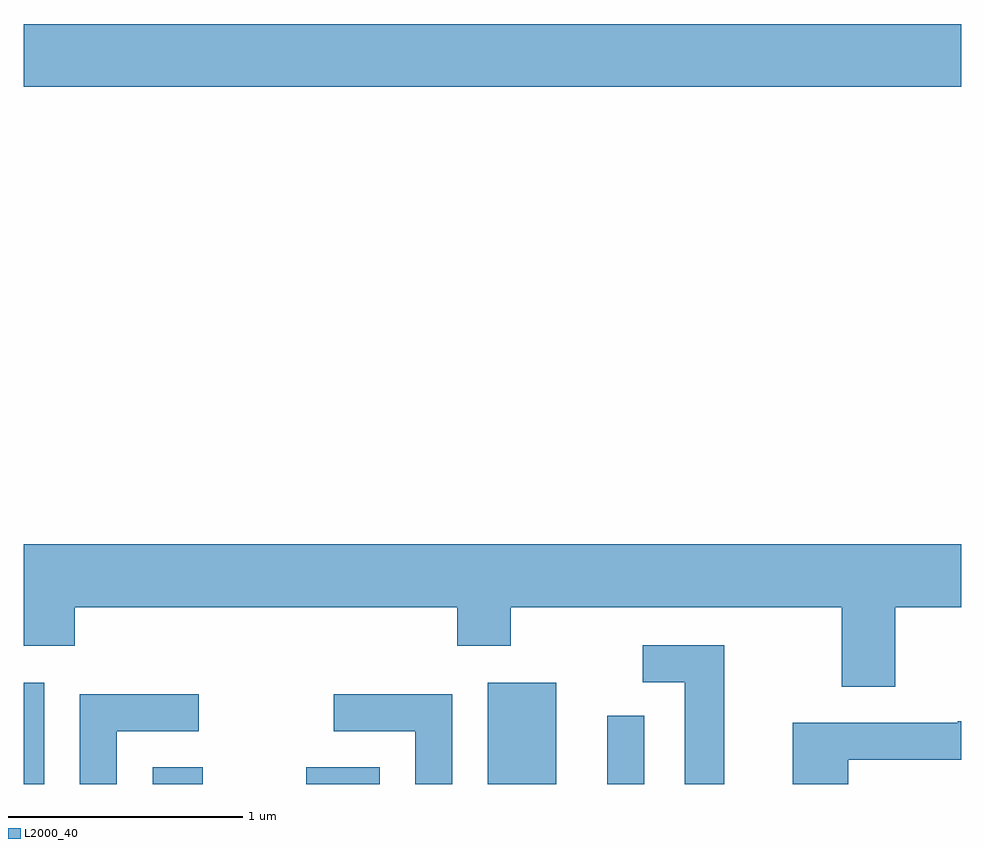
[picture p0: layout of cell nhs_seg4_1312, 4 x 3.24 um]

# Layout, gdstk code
import gdstk
lib = gdstk.Library(unit=1e-6, precision=1e-09)
def R(c, l, rs):  # rectangles x0, y0, x1, y1
    for r in rs: c.add(gdstk.rectangle(r[:2], r[2:], *l))
def P(c, l, *ps):  # polygons
    for p in ps: c.add(gdstk.Polygon(p, *l))
L2000_40 = (2000, 40)

nhs_seg4_1312 = lib.new_cell('nhs_seg4_1312')
R(nhs_seg4_1312, L2000_40, [(223.611,1293.982,223.699,1294.414), (224.161,1293.982,224.374,1294.054), (224.816,1293.982,225.129,1294.054), (225.591,1293.982,225.884,1294.414), (226.101,1293.982,226.259,1294.273), (223.611,1296.956,227.611,1297.224)])
P(nhs_seg4_1312, L2000_40, [(227.329,1294.736),(227.611,1294.736),(227.611,1295.004),(223.611,1295.004),(223.611,1294.571),(223.829,1294.571),(223.829,1294.736),(225.461,1294.736),(225.461,1294.571),(225.689,1294.571),(225.689,1294.736),(227.101,1294.736),(227.101,1294.396),(227.329,1294.396)],
  [(226.599,1294.574),(226.253,1294.574),(226.253,1294.416),(226.431,1294.416),(226.431,1293.982),(226.599,1293.982)],
  [(225.439,1294.364),(224.933,1294.364),(224.933,1294.206),(225.281,1294.206),(225.281,1293.982),(225.439,1293.982)],
  [(224.009,1294.206),(224.358,1294.206),(224.358,1294.364),(223.851,1294.364),(223.851,1293.982),(224.009,1293.982)],
  [(227.129,1294.086),(227.611,1294.086),(227.611,1294.249),(227.595,1294.249),(227.595,1294.244),(226.891,1294.244),(226.891,1293.982),(227.129,1293.982)])

lib.write_gds('nhs_seg4_1312.gds')
